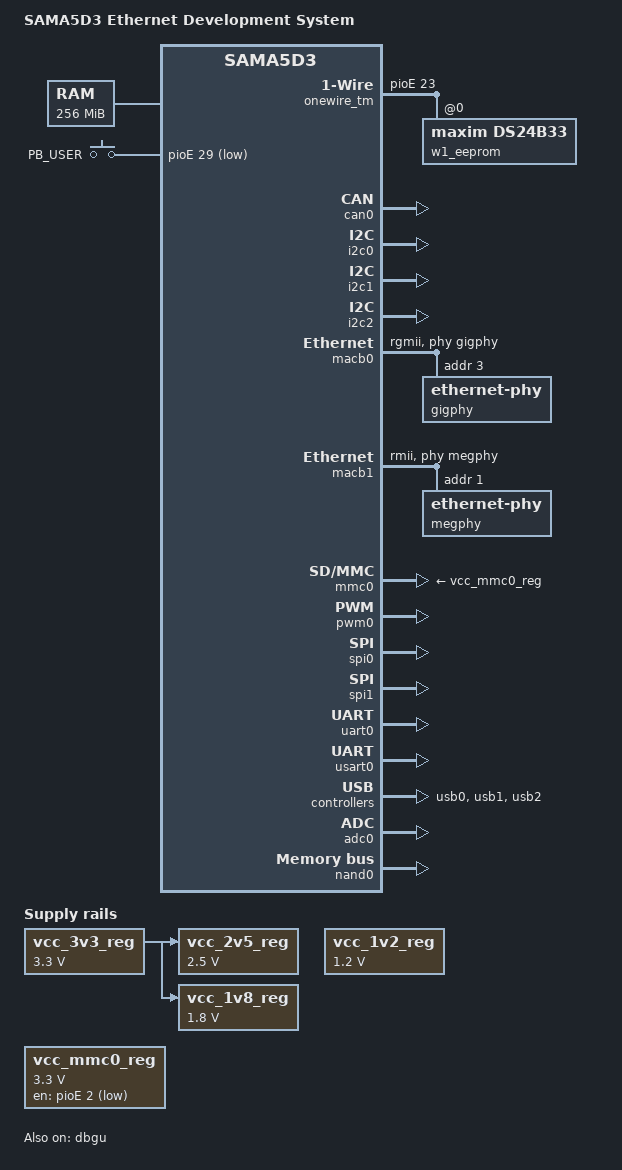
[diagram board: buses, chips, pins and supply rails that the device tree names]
// SPDX-License-Identifier: GPL-2.0+ OR MIT
/*
 * at91-sama5d3_eds.dts - Device Tree file for the SAMA5D3 Ethernet
 *    Development System board.
 *
 *  Copyright (c) 2023, Microchip Technology Inc.
 *			Jerry Ray <jerry.ray@microchip.com>
 */
/dts-v1/;
#include "sama5d36.dtsi"

/ {
	model = "SAMA5D3 Ethernet Development System";
	compatible = "microchip,sama5d3-eds", "atmel,sama5d36",
		     "atmel,sama5d3", "atmel,sama5";

	chosen {
		bootph-all;
		stdout-path = "serial0:115200n8";
//		stdout-path = &dbgu;
	};

	aliases {
		spi0 = &spi0;
		spi1 = &spi1;
		eth0 = &macb0;
		eth1 = &macb1;
	};

	memory {
		reg = <0x20000000 0x10000000>;
	};

	onewire_tm: onewire {
		gpios = <&pioE 23 GPIO_ACTIVE_HIGH>;
		pinctrl-names = "default";
		pinctrl-0 = <&pinctrl_onewire_tm_default>;
		status = "okay";

		w1_eeprom: w1_eeprom@0 {
			compatible = "maxim,ds24b33";
			status = "okay";
		};
	};

	vcc_3v3_reg: regulator-1 {
		compatible = "regulator-fixed";
		regulator-name = "VCC_3V3";
		regulator-min-microvolt = <3300000>;
		regulator-max-microvolt = <3300000>;
		regulator-always-on;
	};

	vcc_2v5_reg: regulator-2 {
		compatible = "regulator-fixed";
		regulator-name = "VCC_2V5";
		regulator-min-microvolt = <2500000>;
		regulator-max-microvolt = <2500000>;
		regulator-always-on;
		vin-supply = <&vcc_3v3_reg>;
	};

	vcc_1v8_reg: regulator-3 {
		compatible = "regulator-fixed";
		regulator-name = "VCC_1V8";
		regulator-min-microvolt = <1800000>;
		regulator-max-microvolt = <1800000>;
		regulator-always-on;
		vin-supply = <&vcc_3v3_reg>;
	};

	vcc_1v2_reg: regulator-4 {
		compatible = "regulator-fixed";
		regulator-name = "VCC_1V2";
		regulator-min-microvolt = <1200000>;
		regulator-max-microvolt = <1200000>;
		regulator-always-on;
	};

	vcc_mmc0_reg: regulator-5 {
		compatible = "regulator-fixed";
		regulator-name = "mmc0-card-supply";
		regulator-min-microvolt = <3300000>;
		regulator-max-microvolt = <3300000>;
		regulator-always-on;
		pinctrl-names = "default";
		pinctrl-0 = <&pinctrl_vcc_mmc0_reg_gpio>;
		gpio = <&pioE 2 GPIO_ACTIVE_LOW>;
	};

	gpio_keys {
		compatible = "gpio-keys";

		pinctrl-names = "default";
		pinctrl-0 = <&pinctrl_key_gpio>;

		bp3 {
			label = "PB_USER";
			gpios = <&pioE 29 GPIO_ACTIVE_LOW>;
			linux,code = <0x104>;
			wakeup-source;
		};
	};

	board {
		bootph-all;
		pinctrl_i2c0_pu: i2c0_pu {
			atmel,pins =
				<AT91_PIOA 30 AT91_PERIPH_A AT91_PINCTRL_PULL_UP>,
				<AT91_PIOA 31 AT91_PERIPH_A AT91_PINCTRL_PULL_UP>;
		};

		pinctrl_i2c2_pu: i2c2_pu {
			atmel,pins =
				<AT91_PIOA 18 AT91_PERIPH_B AT91_PINCTRL_PULL_UP>,
				<AT91_PIOA 19 AT91_PERIPH_B AT91_PINCTRL_PULL_UP>;
		};

		pinctrl_key_gpio: key_gpio_0 {
			atmel,pins =
				<AT91_PIOE 29 AT91_PERIPH_GPIO AT91_PINCTRL_PULL_UP_DEGLITCH>;
		};

		pinctrl_mmc0_cd: mmc0_cd {
			atmel,pins =
				<AT91_PIOE 0 AT91_PERIPH_GPIO AT91_PINCTRL_PULL_UP_DEGLITCH>;
		};

		pinctrl_mmc1_cd: mmc1_cd {
			atmel,pins =
				<AT91_PIOE 1 AT91_PERIPH_GPIO AT91_PINCTRL_PULL_UP_DEGLITCH>;
		};

		pinctrl_onewire_tm_default: onewire_tm_default {
			atmel,pins =
				<AT91_PIOE 23 AT91_PERIPH_GPIO AT91_PINCTRL_NONE>;
		};

		/* Reserved for reset signal to the RGMII connector. */
		pinctrl_rgmii_rstn: rgmii-rstn {
			atmel,pins =
				<AT91_PIOD 18 AT91_PERIPH_GPIO AT91_PINCTRL_PULL_UP_DEGLITCH>;
		};

		/* Reserved for an interrupt line from the RMII and RGMII connectors. */
		pinctrl_spi_irqn: spi-irqn {
			atmel,pins =
				<AT91_PIOB 28 AT91_PERIPH_GPIO AT91_PINCTRL_DEGLITCH>;
		};

		pinctrl_spi0_cs: spi0-cs-default {
			atmel,pins =
				<AT91_PIOD 13 AT91_PERIPH_A AT91_PINCTRL_NONE
				 AT91_PIOD 16 AT91_PERIPH_B AT91_PINCTRL_NONE>;
		};

		pinctrl_spi1_cs: spi1-cs-default {
			atmel,pins = <AT91_PIOC 25 AT91_PERIPH_A AT91_PINCTRL_NONE
				      AT91_PIOC 28 AT91_PERIPH_A AT91_PINCTRL_NONE>;
		};

		pinctrl_usba_vbus: usba_vbus {
			atmel,pins =
				<AT91_PIOE 9 AT91_PERIPH_GPIO AT91_PINCTRL_DEGLITCH>;
		};

		pinctrl_usb_default: usb-default {
			atmel,pins =
				<AT91_PIOE 3 AT91_PERIPH_GPIO AT91_PINCTRL_NONE
				 AT91_PIOE 4 AT91_PERIPH_GPIO AT91_PINCTRL_NONE>;
		};

		/* Reserved for VBUS fault interrupt. */
		pinctrl_vbusfault_irqn: vbusfault-irqn {
			atmel,pins =
				<AT91_PIOE 5 AT91_PERIPH_GPIO AT91_PINCTRL_DEGLITCH>;
		};

		pinctrl_vcc_mmc0_reg_gpio: vcc-mmc0-reg-gpio-default {
			atmel,pins = <AT91_PIOE 2 AT91_PERIPH_GPIO AT91_PINCTRL_PULL_UP>;
		};
	};
};

&can0 {
	status = "okay";
};

&dbgu {
	bootph-all;
	status = "okay";
};

&i2c0 {
	pinctrl-0 = <&pinctrl_i2c0_pu>;
	status = "okay";
};

&i2c1 {
	status = "okay";
};

&i2c2 {
	pinctrl-0 = <&pinctrl_i2c2_pu>;
	status = "okay";
};

&macb0 {
	phy-mode = "rgmii";
	phy-handle = <&gigphy>;
	#address-cells = <1>;
	#size-cells = <0>;
	status = "okay";

	gigphy: ethernet-phy@3 {
		reg = <0x3>;
	};
};

&macb1 {
	phy-mode = "rmii";
	phy-handle = <&megphy>;
	#address-cells = <1>;
	#size-cells = <0>;
	status = "okay";

	megphy: ethernet-phy@1 {
		reg = <0x1>;
	};
};

&main_xtal {
	clock-frequency = <12000000>;
};

&mmc0 {
	bootph-all;
	pinctrl-0 = <&pinctrl_mmc0_clk_cmd_dat0 &pinctrl_mmc0_dat1_3
		     &pinctrl_mmc0_dat4_7 &pinctrl_mmc0_cd>;
	vmmc-supply = <&vcc_mmc0_reg>;
	vqmmc-supply = <&vcc_3v3_reg>;
	status = "okay";
	slot@0 {
		reg = <0>;
		bus-width = <8>;
		cd-gpios = <&pioE 0 GPIO_ACTIVE_LOW>;
	};
};

&pwm0 {
	pinctrl-names = "default";
	pinctrl-0 = <&pinctrl_pwm0_pwmh0_0 &pinctrl_pwm0_pwmh1_0>;
	status = "okay";
};

&slow_xtal {
	clock-frequency = <32768>;
};

&spi0 {
	pinctrl-names = "default", "cs";
	pinctrl-1 = <&pinctrl_spi0_cs>;
	cs-gpios = <&pioD 13 0>, <&pioD 16 0>;  /* u-boot cs must be consecutive. */
	status = "okay";
};

&spi1 {
	pinctrl-names = "default", "cs";
	pinctrl-1 = <&pinctrl_spi1_cs>;
	cs-gpios = <&pioC 25 0>, <&pioC 28 0>, <0>, <0>; /* u-boot cs must be consecutive. */
	status = "okay";
};

&uart0 {
	status = "okay";
};

&usart0 {
	status = "okay";
};

&usb0 {
	atmel,vbus-gpio = <&pioE 9 GPIO_ACTIVE_HIGH>;
	pinctrl-names = "default";
	pinctrl-0 = <&pinctrl_usba_vbus>;
	status = "okay";
};

&usb1 {
	num-ports = <3>;
	atmel,vbus-gpio = <0
			   &pioE 3 GPIO_ACTIVE_LOW
			   &pioE 4 GPIO_ACTIVE_LOW
			  >;
	status = "okay";
};

&usb2 {
	status = "okay";
};

&adc0 {
	pinctrl-0 = <
		&pinctrl_adc0_adtrg
		&pinctrl_adc0_ad0
		&pinctrl_adc0_ad1
		&pinctrl_adc0_ad2
		&pinctrl_adc0_ad3
		&pinctrl_adc0_ad4
		&pinctrl_adc0_ad5
		&pinctrl_adc0_ad6
		&pinctrl_adc0_ad7
		&pinctrl_adc0_ad8
		&pinctrl_adc0_ad9
		>;
	status = "okay";
};

&nand0 {
	atmel,rb = <0>;
	atmel,has-pmecc;
	atmel,pmecc-cap = <4>;
	atmel,pmecc-sector-size = <512>;
	nand-bus-width = <8>;
	nand-ecc-mode = "hw";
	nand-ecc-strength = <4>;
	nand-ecc-step-size = <512>;
	nand-on-flash-bbt;
	label = "atmel_nand";
	status = "okay";
};
